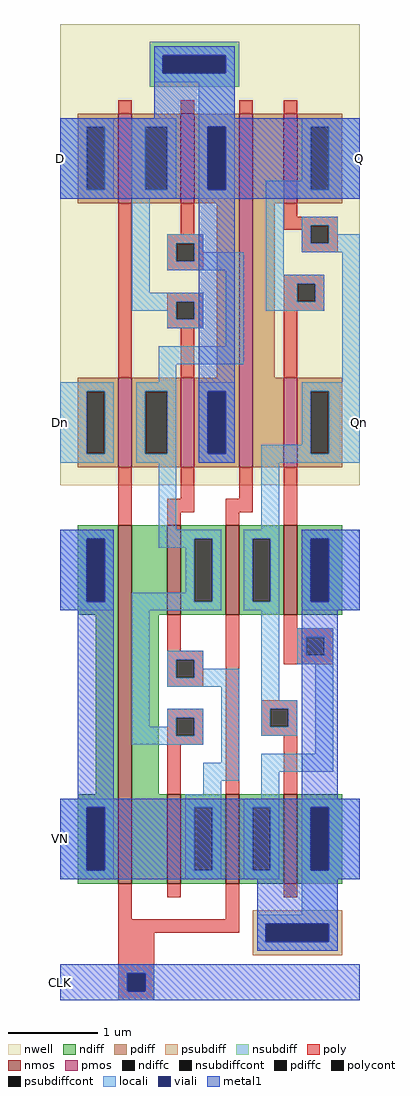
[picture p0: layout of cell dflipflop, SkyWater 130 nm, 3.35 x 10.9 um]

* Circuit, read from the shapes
.subckt dflipflop VP D Q Dn Qn VN CLK
XM1 n1 CLK VN VN sky130_fd_pr__nfet_01v8 w=4 l=0.15
XM2 n2 n3 n1 VN sky130_fd_pr__nfet_01v8 w=1 l=0.15
XM3 n3 n2 n1 VN sky130_fd_pr__nfet_01v8 w=1 l=0.15
XM4 Q CLK n2 VN sky130_fd_pr__nfet_01v8 w=1 l=0.15
XM5 Qn CLK n3 VN sky130_fd_pr__nfet_01v8 w=1 l=0.15
XM6 VN Qn Q VN sky130_fd_pr__nfet_01v8 w=1 l=0.15
XM7 VN Q Qn VN sky130_fd_pr__nfet_01v8 w=1 l=0.15
XM8 n3 CLK Dn VP sky130_fd_pr__pfet_01v8 w=1 l=0.15
XM9 n2 CLK D VP sky130_fd_pr__pfet_01v8 w=1 l=0.15
XM10 VP n2 n3 VP sky130_fd_pr__pfet_01v8 w=1 l=0.15
XM11 VP n3 n2 VP sky130_fd_pr__pfet_01v8 w=1 l=0.15
XM12 n4 CLK VP VP sky130_fd_pr__pfet_01v8 w=3.95 l=0.15
XM13 Qn Q n4 VP sky130_fd_pr__pfet_01v8 w=1 l=0.15
XM14 Q Qn n4 VP sky130_fd_pr__pfet_01v8 w=1 l=0.15
.ends

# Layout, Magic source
magic
tech sky130A
<< nwell >>
rect -85 430 250 945
<< nmos >>
rect -20 -15 -5 385
rect 35 285 50 385
rect 100 285 115 385
rect 165 285 180 385
rect 35 -15 50 85
rect 100 -15 115 85
rect 165 -15 180 85
<< pmos >>
rect -20 745 -5 845
rect 50 745 65 845
rect -20 450 -5 550
rect 50 450 65 550
rect 115 450 130 845
rect 165 745 180 845
rect 165 450 180 550
<< ndiff >>
rect -65 370 -20 385
rect -65 300 -55 370
rect -35 300 -20 370
rect -65 285 -20 300
rect -45 85 -20 285
rect -65 70 -20 85
rect -65 0 -55 70
rect -35 0 -20 70
rect -65 -15 -20 0
rect -5 285 35 385
rect 50 370 100 385
rect 50 300 65 370
rect 85 300 100 370
rect 50 285 100 300
rect 115 370 165 385
rect 115 300 130 370
rect 150 300 165 370
rect 115 285 165 300
rect 180 370 230 385
rect 180 300 195 370
rect 215 300 230 370
rect 180 285 230 300
rect -5 85 25 285
rect -5 -15 35 85
rect 50 70 100 85
rect 50 0 65 70
rect 85 0 100 70
rect 50 -15 100 0
rect 115 70 165 85
rect 115 0 130 70
rect 150 0 165 70
rect 115 -15 165 0
rect 180 70 230 85
rect 180 0 195 70
rect 215 0 230 70
rect 180 -15 230 0
<< pdiff >>
rect -65 830 -20 845
rect -65 760 -55 830
rect -35 760 -20 830
rect -65 745 -20 760
rect -5 830 50 845
rect -5 760 10 830
rect 35 760 50 830
rect -5 745 50 760
rect 65 830 115 845
rect 65 760 80 830
rect 100 760 115 830
rect 65 745 115 760
rect 90 550 115 745
rect -65 535 -20 550
rect -65 465 -55 535
rect -35 465 -20 535
rect -65 450 -20 465
rect -5 535 50 550
rect -5 465 10 535
rect 35 465 50 535
rect -5 450 50 465
rect 65 535 115 550
rect 65 465 80 535
rect 100 465 115 535
rect 65 450 115 465
rect 130 745 165 845
rect 180 830 230 845
rect 180 760 195 830
rect 215 760 230 830
rect 180 745 230 760
rect 130 550 155 745
rect 130 450 165 550
rect 180 535 230 550
rect 180 465 195 535
rect 215 465 230 535
rect 180 450 230 465
<< ndiffc >>
rect -55 300 -35 370
rect -55 0 -35 70
rect 65 300 85 370
rect 130 300 150 370
rect 195 300 215 370
rect 65 0 85 70
rect 130 0 150 70
rect 195 0 215 70
<< pdiffc >>
rect -55 760 -35 830
rect 10 760 35 830
rect 80 760 100 830
rect -55 465 -35 535
rect 10 465 35 535
rect 80 465 100 535
rect 195 760 215 830
rect 195 465 215 535
<< psubdiff >>
rect 130 -60 230 -45
rect 130 -80 145 -60
rect 215 -80 230 -60
rect 130 -95 230 -80
<< nsubdiff >>
rect 15 910 115 925
rect 15 890 30 910
rect 100 890 115 910
rect 15 875 115 890
<< psubdiffcont >>
rect 145 -80 215 -60
<< nsubdiffcont >>
rect 30 890 100 910
<< poly >>
rect -20 845 -5 860
rect 50 845 65 860
rect 115 845 130 860
rect 165 845 180 860
rect -20 550 -5 745
rect 50 710 65 745
rect 35 700 75 710
rect 35 680 45 700
rect 65 680 75 700
rect 35 670 75 680
rect 35 635 75 645
rect 35 615 45 635
rect 65 615 75 635
rect 35 605 75 615
rect 50 550 65 605
rect 165 730 180 745
rect 165 720 225 730
rect 165 715 195 720
rect 185 700 195 715
rect 215 700 225 720
rect 185 690 225 700
rect 165 655 210 665
rect 165 635 180 655
rect 200 635 210 655
rect 165 625 210 635
rect 165 550 180 625
rect -20 385 -5 450
rect 50 415 65 450
rect 115 415 130 450
rect 35 400 65 415
rect 100 400 130 415
rect 35 385 50 400
rect 100 385 115 400
rect 165 385 180 450
rect 35 245 50 285
rect 35 235 75 245
rect 35 215 45 235
rect 65 215 75 235
rect 35 205 75 215
rect 35 170 75 180
rect 35 150 45 170
rect 65 150 75 170
rect 35 140 75 150
rect 35 85 50 140
rect 100 85 115 285
rect 165 270 180 285
rect 165 260 220 270
rect 165 240 190 260
rect 210 240 220 260
rect 165 230 220 240
rect 140 180 180 190
rect 140 160 150 180
rect 170 160 180 180
rect 140 150 180 160
rect 165 85 180 150
rect -20 -55 -5 -15
rect 35 -30 50 -15
rect 100 -55 115 -15
rect 165 -30 180 -15
rect -20 -70 115 -55
rect -20 -115 20 -70
rect -20 -135 -10 -115
rect 10 -135 20 -115
rect -20 -145 20 -135
<< polycont >>
rect 45 680 65 700
rect 45 615 65 635
rect 195 700 215 720
rect 180 635 200 655
rect 45 215 65 235
rect 45 150 65 170
rect 190 240 210 260
rect 150 160 170 180
rect -10 -135 10 -115
<< locali >>
rect 20 910 110 920
rect 20 890 30 910
rect 100 890 110 910
rect 20 880 110 890
rect -85 830 -25 840
rect -85 760 -55 830
rect -35 760 -25 830
rect -85 750 -25 760
rect -5 830 45 840
rect -5 760 10 830
rect 35 760 45 830
rect -5 750 45 760
rect 70 830 110 880
rect 70 760 80 830
rect 100 760 110 830
rect 185 830 250 840
rect 185 770 195 830
rect 70 750 110 760
rect 145 760 195 770
rect 215 760 250 830
rect 145 750 250 760
rect -5 645 15 750
rect 35 700 75 710
rect 35 680 45 700
rect 65 690 75 700
rect 65 680 120 690
rect 35 670 120 680
rect -5 635 75 645
rect -5 625 45 635
rect 35 615 45 625
rect 65 615 75 635
rect 35 605 75 615
rect 100 585 120 670
rect 145 665 165 750
rect 185 720 225 730
rect 185 700 195 720
rect 215 710 225 720
rect 215 700 250 710
rect 185 690 250 700
rect 145 655 210 665
rect 145 635 180 655
rect 200 635 210 655
rect 145 625 210 635
rect 25 565 120 585
rect 25 545 45 565
rect 230 545 250 690
rect -85 535 -25 545
rect -85 465 -55 535
rect -35 465 -25 535
rect -85 455 -25 465
rect 0 535 45 545
rect 0 465 10 535
rect 35 465 45 535
rect 0 455 45 465
rect 70 535 110 545
rect 70 465 80 535
rect 100 465 110 535
rect 185 535 250 545
rect 185 475 195 535
rect 70 455 110 465
rect 140 465 195 475
rect 215 465 250 535
rect 140 455 250 465
rect 25 380 45 455
rect 140 380 160 455
rect -85 370 -25 380
rect -85 300 -55 370
rect -35 300 -25 370
rect 25 370 95 380
rect 25 360 65 370
rect 55 310 65 360
rect -85 290 -25 300
rect -5 300 65 310
rect 85 300 95 370
rect -5 290 95 300
rect 120 370 160 380
rect 120 300 130 370
rect 150 300 160 370
rect 120 290 160 300
rect 185 370 250 380
rect 185 300 195 370
rect 215 300 250 370
rect 185 290 250 300
rect -5 160 15 290
rect 35 235 75 245
rect 35 215 45 235
rect 65 225 75 235
rect 65 215 115 225
rect 35 205 115 215
rect 35 170 75 180
rect 35 160 45 170
rect -5 150 45 160
rect 65 150 75 170
rect -5 140 75 150
rect 95 120 115 205
rect 140 190 160 290
rect 180 260 220 270
rect 180 240 190 260
rect 210 240 220 260
rect 180 230 220 240
rect 140 180 180 190
rect 140 160 150 180
rect 170 160 180 180
rect 140 150 180 160
rect 200 130 220 230
rect 75 100 115 120
rect 140 110 220 130
rect 75 85 95 100
rect -85 70 -25 80
rect -85 0 -55 70
rect -35 0 -25 70
rect -85 -10 -25 0
rect 55 70 95 85
rect 140 80 160 110
rect 55 0 65 70
rect 85 0 95 70
rect 55 -10 95 0
rect 120 70 160 80
rect 120 0 130 70
rect 150 0 160 70
rect 120 -10 160 0
rect 185 70 250 80
rect 185 0 195 70
rect 215 0 250 70
rect 185 -10 250 0
rect 185 -50 225 -10
rect 135 -60 225 -50
rect 135 -80 145 -60
rect 215 -80 225 -60
rect 135 -90 225 -80
rect -20 -115 20 -105
rect -20 -135 -10 -115
rect 10 -135 20 -115
rect -20 -145 20 -135
<< viali >>
rect 30 890 100 910
rect 80 760 100 830
rect 80 465 100 535
rect -55 300 -35 370
rect 195 300 215 370
rect -55 0 -35 70
rect 195 0 215 70
rect 145 -80 215 -60
rect -10 -135 10 -115
<< metal1 >>
rect 20 910 110 920
rect 20 890 30 910
rect 100 890 110 910
rect 20 840 110 890
rect -85 830 250 840
rect -85 760 80 830
rect 100 760 250 830
rect -85 750 250 760
rect 70 535 110 750
rect 70 465 80 535
rect 100 465 110 535
rect 70 455 110 465
rect -85 370 -25 380
rect -85 300 -55 370
rect -35 300 -25 370
rect -85 290 -25 300
rect -65 80 -25 290
rect 185 370 250 380
rect 185 300 195 370
rect 215 300 250 370
rect 185 290 250 300
rect 185 80 225 290
rect -85 70 250 80
rect -85 0 -55 70
rect -35 0 195 70
rect 215 0 250 70
rect -85 -10 250 0
rect 135 -60 225 -10
rect 135 -80 145 -60
rect 215 -80 225 -60
rect 135 -90 225 -80
rect -85 -115 250 -105
rect -85 -135 -10 -115
rect 10 -135 250 -115
rect -85 -145 250 -135
<< labels >>
rlabel locali -85 795 -85 795 7 D
port 2 w
rlabel locali -85 500 -85 500 7 Dn
port 4 w
rlabel locali 250 500 250 500 3 Qn
port 5 e
rlabel locali 250 795 250 795 3 Q
port 3 e
rlabel metal1 -85 35 -85 35 7 VN
port 6 w
rlabel metal1 -85 -125 -85 -125 7 CLK
port 7 w
rlabel metal1 -85 795 -85 795 7 VP
port 1 w
<< end >>
